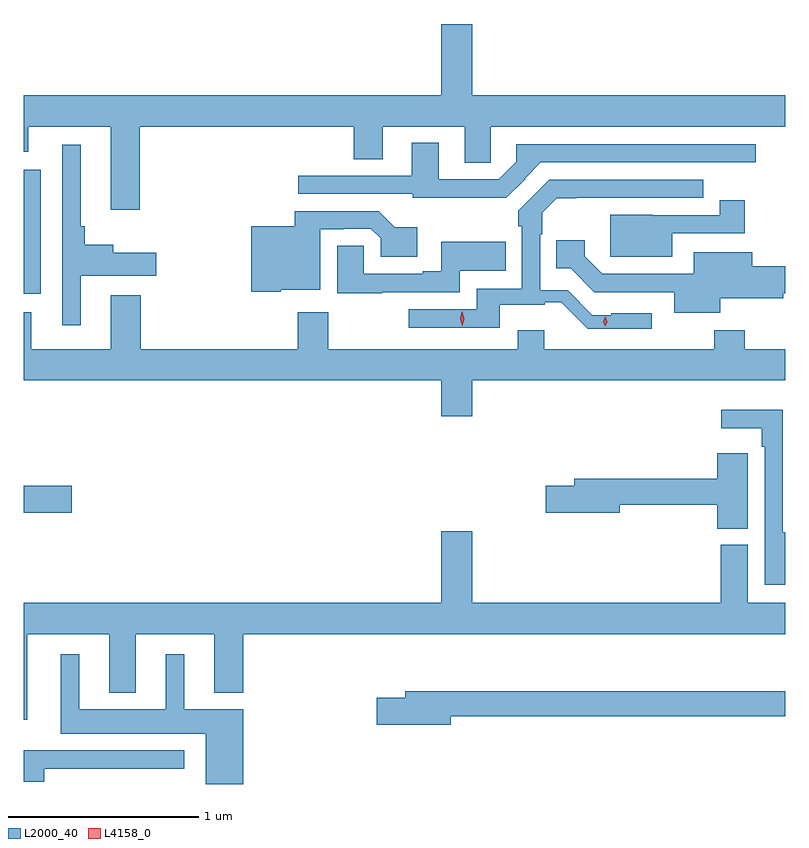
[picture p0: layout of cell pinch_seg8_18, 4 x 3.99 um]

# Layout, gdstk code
import gdstk
lib = gdstk.Library(unit=1e-6, precision=1e-09)
def R(c, l, rs):  # rectangles x0, y0, x1, y1
    for r in rs: c.add(gdstk.rectangle(r[:2], r[2:], *l))
def P(c, l, *ps):  # polygons
    for p in ps: c.add(gdstk.Polygon(p, *l))
L2000_40 = (2000, 40)
L4158_0 = (4158, 0)

pinch_seg8_18 = lib.new_cell('pinch_seg8_18')
R(pinch_seg8_18, L2000_40, [(1025.952,1157.098,1026.205,1157.24), (1025.952,1158.246,1026.042,1158.897)])
P(pinch_seg8_18, L2000_40, [(1026.563,1159.124),(1027.685,1159.124),(1027.685,1158.952),(1027.837,1158.952),(1027.837,1159.124),(1028.267,1159.124),(1028.267,1158.934),(1028.406,1158.934),(1028.406,1159.124),(1029.952,1159.124),(1029.952,1159.288),(1028.308,1159.288),(1028.308,1159.663),(1028.144,1159.663),(1028.144,1159.288),(1025.952,1159.288),(1025.952,1158.993),(1025.977,1158.993),(1025.977,1159.124),(1026.41,1159.124),(1026.41,1158.687),(1026.563,1158.687)],
  [(1028.585,1158.848),(1028.582,1158.851),(1028.667,1158.936),(1029.796,1158.936),(1029.796,1159.032),(1028.539,1159.032),(1028.539,1158.94),(1028.448,1158.849),(1028.131,1158.849),(1028.131,1159.039),(1027.991,1159.039),(1027.991,1158.867),(1027.395,1158.867),(1027.395,1158.771),(1027.995,1158.771),(1027.995,1158.751),(1028.487,1158.751)],
  [(1026.253,1158.341),(1026.649,1158.341),(1026.649,1158.463),(1026.424,1158.463),(1026.424,1158.505),(1026.272,1158.505),(1026.272,1158.601),(1026.253,1158.601),(1026.253,1159.03),(1026.156,1159.03),(1026.156,1158.081),(1026.253,1158.081)],
  [(1029.25,1158.144),(1029.037,1158.144),(1029.037,1158.135),(1028.937,1158.135),(1028.808,1158.264),(1028.664,1158.264),(1028.664,1158.56),(1028.674,1158.56),(1028.674,1158.672),(1028.75,1158.748),(1028.854,1158.748),(1028.854,1158.75),(1029.52,1158.75),(1029.52,1158.846),(1028.711,1158.846),(1028.548,1158.683),(1028.548,1158.602),(1028.568,1158.602),(1028.568,1158.273),(1028.33,1158.273),(1028.33,1158.165),(1027.974,1158.165),(1027.974,1158.069),(1028.452,1158.069),(1028.452,1158.189),(1028.688,1158.189),(1028.688,1158.201),(1028.775,1158.201),(1028.913,1158.064),(1029.25,1158.064)],
  [(1029.358,1158.564),(1029.739,1158.564),(1029.739,1158.739),(1029.608,1158.739),(1029.608,1158.66),(1029.254,1158.66),(1029.254,1158.661),(1029.032,1158.661),(1029.032,1158.44),(1029.358,1158.44)],
  [(1027.302,1158.269),(1027.51,1158.269),(1027.51,1158.585),(1027.634,1158.585),(1027.634,1158.588),(1027.776,1158.588),(1027.827,1158.537),(1027.827,1158.44),(1028.02,1158.44),(1028.02,1158.595),(1027.902,1158.595),(1027.816,1158.681),(1027.376,1158.681),(1027.376,1158.601),(1027.148,1158.601),(1027.148,1158.257),(1027.302,1158.257)],
  [(1029.61,1158.224),(1029.94,1158.224),(1029.94,1158.25),(1029.952,1158.25),(1029.952,1158.392),(1029.778,1158.392),(1029.778,1158.466),(1029.47,1158.466),(1029.47,1158.351),(1028.991,1158.351),(1028.899,1158.443),(1028.899,1158.529),(1028.749,1158.529),(1028.749,1158.38),(1028.824,1158.38),(1028.949,1158.255),(1029.368,1158.255),(1029.368,1158.146),(1029.61,1158.146)],
  [(1027.834,1158.255),(1028.241,1158.255),(1028.241,1158.368),(1028.483,1158.368),(1028.483,1158.52),(1028.145,1158.52),(1028.145,1158.364),(1028.048,1158.364),(1028.048,1158.351),(1027.737,1158.351),(1027.737,1158.5),(1027.598,1158.5),(1027.598,1158.25),(1027.834,1158.25)],
  [(1028.308,1157.792),(1029.952,1157.792),(1029.952,1157.956),(1029.737,1157.956),(1029.737,1158.055),(1029.577,1158.055),(1029.577,1157.956),(1028.686,1157.956),(1028.686,1158.055),(1028.546,1158.055),(1028.546,1157.956),(1027.551,1157.956),(1027.551,1158.151),(1027.391,1158.151),(1027.391,1157.956),(1026.566,1157.956),(1026.566,1158.238),(1026.41,1158.238),(1026.41,1157.956),(1025.992,1157.956),(1025.992,1158.151),(1025.952,1158.151),(1025.952,1157.792),(1028.144,1157.792),(1028.144,1157.604),(1028.308,1157.604)],
  [(1029.952,1156.995),(1029.939,1156.995),(1029.939,1157.638),(1029.615,1157.638),(1029.615,1157.54),(1029.827,1157.54),(1029.827,1157.444),(1029.843,1157.444),(1029.843,1156.718),(1029.952,1156.718)],
  [(1029.754,1157.297),(1029.753,1157.297),(1029.753,1157.41),(1029.593,1157.41),(1029.593,1157.276),(1028.843,1157.276),(1028.843,1157.24),(1028.694,1157.24),(1028.694,1157.098),(1029.082,1157.098),(1029.082,1157.14),(1029.593,1157.14),(1029.593,1157.014),(1029.754,1157.014)],
  [(1029.952,1156.624),(1029.754,1156.624),(1029.754,1156.929),(1029.611,1156.929),(1029.611,1156.624),(1028.308,1156.624),(1028.308,1156.999),(1028.144,1156.999),(1028.144,1156.624),(1025.952,1156.624),(1025.952,1156.011),(1025.971,1156.011),(1025.971,1156.46),(1026.401,1156.46),(1026.401,1156.151),(1026.541,1156.151),(1026.541,1156.46),(1026.953,1156.46),(1026.953,1156.151),(1027.106,1156.151),(1027.106,1156.46),(1029.952,1156.46)],
  [(1027.105,1156.066),(1026.796,1156.066),(1026.796,1156.354),(1026.698,1156.354),(1026.698,1156.066),(1026.244,1156.066),(1026.244,1156.354),(1026.146,1156.354),(1026.146,1155.938),(1026.908,1155.938),(1026.908,1155.673),(1027.105,1155.673)],
  [(1028.194,1156.03),(1029.952,1156.03),(1029.952,1156.159),(1027.955,1156.159),(1027.955,1156.125),(1027.805,1156.125),(1027.805,1155.983),(1028.194,1155.983)],
  [(1026.061,1155.753),(1026.796,1155.753),(1026.796,1155.849),(1026.057,1155.849),(1026.057,1155.85),(1025.952,1155.85),(1025.952,1155.685),(1026.061,1155.685)])
P(pinch_seg8_18, L4158_0, [(1029.005,1158.075),(1028.996,1158.1),(1029.005,1158.126),(1029.006,1158.126),(1029.006,1158.126),(1029.016,1158.1),(1029.006,1158.075),(1029.006,1158.075)],
  [(1028.256,1158.08),(1028.256,1158.08),(1028.245,1158.116),(1028.253,1158.152),(1028.254,1158.152),(1028.254,1158.152),(1028.265,1158.116),(1028.256,1158.08)])

lib.write_gds('pinch_seg8_18.gds')
